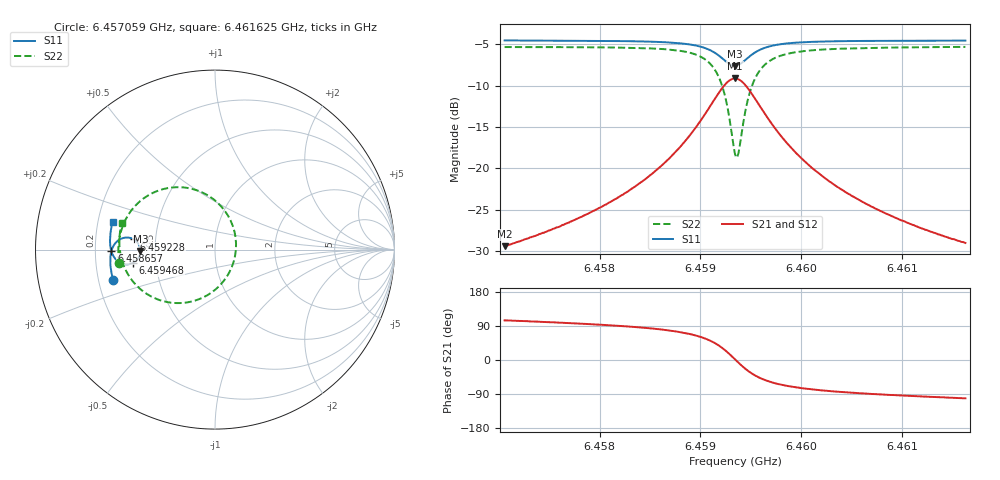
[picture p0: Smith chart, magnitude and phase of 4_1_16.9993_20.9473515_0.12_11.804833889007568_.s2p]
#  HZ  S  RI  R  50.00
! Rohde & Schwarz Vector Network Analyzer
! Rohde-Schwarz,ZNB20-2Port,1311601062101988,3.16
! Created: UTC 3/20/2024, 10:52:12 PM
! freq[Hz]  re:S11  im:S11  re:S21  im:S21  re:S12  im:S12  re:S22  im:S22
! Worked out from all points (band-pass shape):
!   401 points, 6.457059 GHz to 6.461625 GHz, reference 50 ohm
!   highest |S21| = -9.14 dB at 6.459342 GHz (marker M1); lowest = -29.4 dB at 6.457059 GHz (marker M2)
!   |S21| within 3 dB of the highest: 6.459114 GHz to 6.45957 GHz (456.1 kHz wide, 0.00706 % of centre)
!   lowest |S11| = -7.6 dB at 6.459342 GHz (marker M3), VSWR 2.42, Z = 20.6 - j0.388 ohm
!   |S11| at or under -10 dB: nowhere
!   |S22| runs from -18.7 to -5.3 dB; largest |S21 - S12| = 0.014
!   S11 on the Smith chart (normalised r, x): 6.457059 GHz: 0.26, -0.13; 6.458657 GHz: 0.27, -0.01; 6.459228 GHz: 0.38, +0.05; 6.459468 GHz: 0.37, -0.07; 6.461625 GHz: 0.26, +0.12
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6.4570595e9  -0.5678 -0.1673  -0.00855 0.0328  -0.00686 0.0328  -0.5345 -0.0771
6.4578242e9  -0.5812 -0.1001  -0.0051 0.0509  -0.00257 0.0503  -0.5386 0.0128
6.4582579e9  -0.5837 -0.0564  0.00143 0.0712  0.00461 0.0698  -0.5291 0.0823
6.4585888e9  -0.5795 -0.0163  0.0154 0.0995  0.0192 0.0967  -0.5029 0.1578
6.4586573e9  -0.5772 -0.00699  0.0208 0.1079  0.0249 0.1047  -0.4925 0.1777
6.4588513e9  -0.5642 0.0236  0.0479 0.139  0.0519 0.1339  -0.4418 0.2467
6.4589997e9  -0.5412 0.0498  0.0939 0.1692  0.097 0.1625  -0.3567 0.3106
6.4591367e9  -0.4967 0.0671  0.182 0.1852  0.1828 0.1779  -0.1959 0.3477
6.459228e9  -0.4517 0.0564  0.2725 0.1528  0.2727 0.147  -0.0283 0.2948
6.4592965e9  -0.4223 0.0237  0.3331 0.0796  0.3352 0.0744  0.0866 0.1625
6.4593421e9  -0.4156 -0.00778  0.3489 0.0108  0.3526 0.00387  0.1172 0.034
6.4593535e9  -0.4162 -0.0161  0.3485 -0.00726  0.3525 -0.0147  0.1165 1.61e-05
6.4593763e9  -0.4198 -0.0319  0.3425 -0.0421  0.3464 -0.0512  0.1044 -0.0663
6.459422e9  -0.4357 -0.0582  0.313 -0.1025  0.3152 -0.1143  0.0445 -0.1796
6.4594676e9  -0.4582 -0.0748  0.2702 -0.1434  0.2692 -0.1567  -0.0423 -0.254
6.459559e9  -0.5021 -0.0814  0.1841 -0.1739  0.1777 -0.1855  -0.2134 -0.298
6.4597073e9  -0.5463 -0.0606  0.0956 -0.159  0.087 -0.1651  -0.3813 -0.2459
6.4598671e9  -0.5679 -0.0327  0.0506 -0.1304  0.043 -0.1331  -0.4613 -0.1725
6.4601068e9  -0.5806 0.003  0.0215 -0.0981  0.0158 -0.0987  -0.5086 -0.0891
6.4604492e9  -0.5851 0.0439  0.00571 -0.071  0.00164 -0.0705  -0.5292 -0.00966
6.4608715e9  -0.5829 0.0864  -0.0019 -0.0523  -0.00471 -0.0514  -0.5328 0.0587
6.4616247e9  -0.5705 0.1533  -0.00686 -0.0348  -0.00858 -0.0338  -0.5207 0.1481
